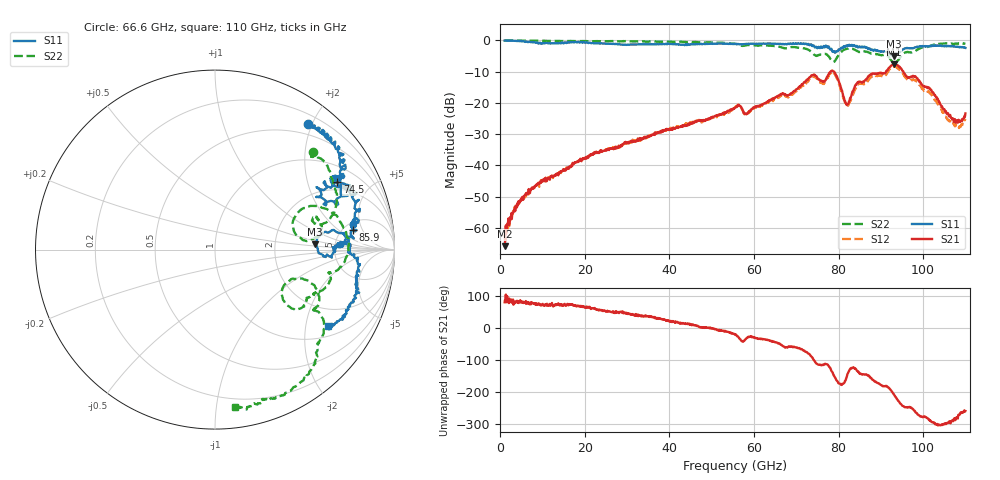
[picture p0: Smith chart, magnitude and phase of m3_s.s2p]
!Keysight Technologies,N5222B,MY58421742,A.17.00.05
!Date: Friday, September 20, 2024 13:34:16
!Correction: S11(C  2-Port  )
!S21(C  2-Port  )
!S12(C  2-Port  )
!S22(C  2-Port  )
!S2P File: Measurements: S11, S21, S12, S22:
# Hz S  dB  R 50
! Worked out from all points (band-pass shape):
!   1091 points, 1 GHz to 110 GHz, reference 50 ohm
!   highest |S21| = -7.68 dB at 93 GHz (marker M1); lowest = -65.9 dB at 1 GHz (marker M2)
!   |S21| within 3 dB of the highest: 77.71 GHz to 79.25 GHz (1.543 GHz wide, 1.97 % of centre); 89.23 GHz to 95.62 GHz (6.393 GHz wide, 6.92 % of centre)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
!   lowest |S11| = -5.0 dB at 93 GHz (marker M3), VSWR 3.54, Z = 176 + j15 ohm
!   |S11| at or under -10 dB: nowhere
!   |S22| runs from -7.3 to 0.0 dB; largest |S21 - S12| = 0.061
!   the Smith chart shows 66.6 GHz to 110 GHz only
!   S11 on the Smith chart (normalised r, x): 66.6 GHz: 0.34, +1.94; 74.5 GHz: 1.63, +3.10; 85.9 GHz: 6.05, +3.34; 110 GHz: 1.34, -2.68
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1e9  -0.05 177.9  -65.89 80.4  -62.14 81.8  -0.02 178.6
2.1e9  -0.07 175.4  -59.14 91.8  -59.43 90.8  -0.06 177.1
5.6e9  -0.31 168.0  -50.05 80.6  -50.32 75.2  -0.08 172.7
1.92e10  -0.54 149.2  -38.69 68.5  -38.20 66.8  -0.23 155.1
3.74e10  -1.25 118.2  -29.34 30.4  -29.50 32.6  -0.43 124.9
5.55e10  -1.14 79.2  -21.55 -19.6  -21.36 -15.1  -1.10 78.5
5.81e10  -1.12 74.9  -23.48 -34.0  -23.85 -30.5  -1.57 74.1
6.66e10  -1.23 53.5  -17.11 -53.2  -17.37 -49.5  -2.26 45.1
7.37e10  -1.73 31.9  -11.14 -90.2  -11.60 -86.9  -3.83 13.9
7.45e10  -2.18 28.8  -11.36 -106.4  -11.76 -103.9  -4.83 14.6
7.64e10  -1.98 28.8  -13.24 -114.6  -13.90 -109.9  -4.41 16.1
7.88e10  -3.45 22.4  -9.94 -145.9  -10.50 -141.7  -6.90 14.8
8.02e10  -2.85 31.9  -13.63 -173.2  -14.24 -169.5  -4.28 23.4
8.2e10  -1.59 25.3  -20.44 -148.7  -20.98 -145.7  -2.65 7.7
8.42e10  -1.82 10.6  -14.04 -130.1  -14.80 -124.4  -3.25 -9.8
8.59e10  -2.20 8.1  -13.25 -144.0  -13.94 -140.7  -3.58 -13.3
9.19e10  -4.18 -3.8  -8.81 172.8  -9.54 -178.3  -5.37 -37.6
9.3e10  -5.05 3.0  -7.68 155.1  -8.39 160.1  -7.17 -31.6
9.46e10  -3.62 9.4  -8.81 124.9  -9.50 131.3  -5.39 -18.4
9.95e10  -1.89 -7.0  -13.83 84.5  -14.84 90.7  -2.41 -37.0
1.074e11  -1.96 -29.2  -25.37 74.4  -27.00 85.4  -1.12 -72.3
1.1e11  -2.39 -33.9  -23.41 101.7  -25.14 112.3  -1.07 -82.9
